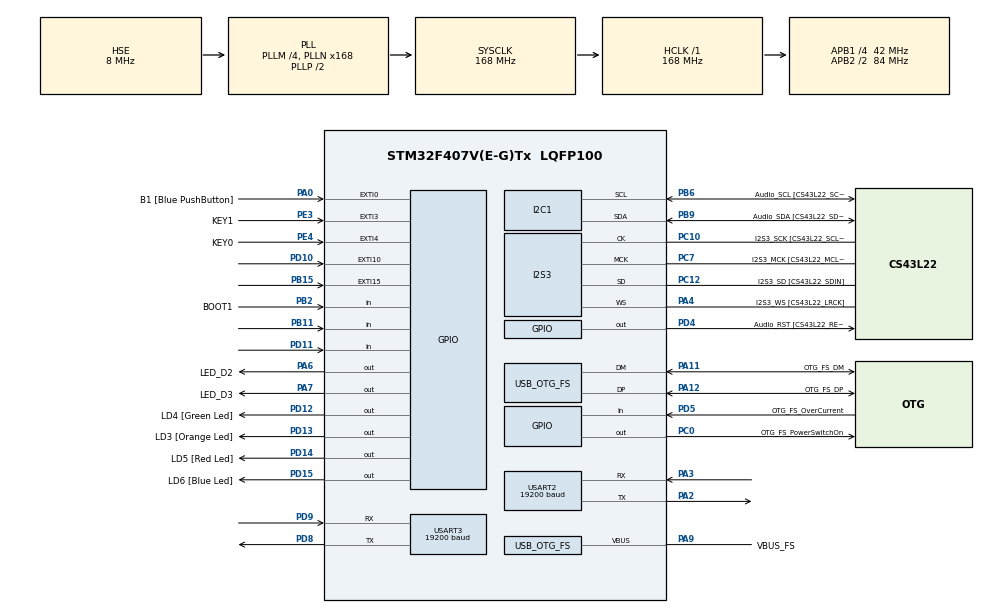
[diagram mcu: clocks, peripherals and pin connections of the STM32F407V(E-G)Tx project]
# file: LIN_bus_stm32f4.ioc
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I2S3.AudioFreq-Half_Duplex_Master=I2S_AUDIOFREQ_96K
I2S3.ErrorAudioFreq=-2.34 %
I2S3.ErrorAudioFreq-Half_Duplex_Master=0.8 %
I2S3.FullDuplexMode=I2S_FULLDUPLEXMODE_DISABLE
I2S3.Instance=SPI$Index
I2S3.RealAudioFreq=93.75 KHz
I2S3.RealAudioFreq-Half_Duplex_Master=96.774 KHz
I2S3.VirtualMode=I2S_MODE_MASTER
Mcu.Family=STM32F4
Mcu.Name=STM32F407V(E-G)Tx
Mcu.Package=LQFP100
NVIC.EXTI15_10_IRQn=true\:0\:0\:false\:false\:true\:true\:true\:true
NVIC.EXTI3_IRQn=true\:0\:0\:false\:false\:true\:true\:true\:true
NVIC.EXTI4_IRQn=true\:0\:0\:true\:false\:true\:true\:true\:true
NVIC.OTG_FS_IRQn=true\:0\:0\:false\:false\:true\:true\:true\:true
NVIC.PriorityGroup=NVIC_PRIORITYGROUP_0
NVIC.TIM8_TRG_COM_TIM14_IRQn=true\:0\:0\:false\:false\:true\:true\:true\:true
NVIC.USART2_IRQn=true\:0\:0\:false\:false\:true\:true\:true\:true
NVIC.USART3_IRQn=true\:0\:0\:false\:false\:true\:true\:true\:true
PA0-WKUP.GPIO_Label=B1 [Blue PushButton]
PA0-WKUP.GPIO_ModeDefaultEXTI=GPIO_MODE_EVT_RISING
PA0-WKUP.GPIO_PuPd=GPIO_NOPULL
PA0-WKUP.Signal=GPXTI0
PA10.GPIO_Label=OTG_FS_ID
PA10.GPIO_Mode=GPIO_MODE_AF_PP
PA10.GPIO_PuPd=GPIO_NOPULL
PA10.GPIO_Speed=GPIO_SPEED_FREQ_LOW
PA10.Signal=USB_OTG_FS_ID
PA11.GPIO_Label=OTG_FS_DM
PA11.GPIO_Mode=GPIO_MODE_AF_PP
PA11.GPIO_PuPd=GPIO_NOPULL
PA11.GPIO_Speed=GPIO_SPEED_FREQ_LOW
PA11.Mode=Host_Only
PA11.Signal=USB_OTG_FS_DM
PA12.GPIO_Label=OTG_FS_DP
PA12.GPIO_Mode=GPIO_MODE_AF_PP
PA12.GPIO_PuPd=GPIO_NOPULL
PA12.GPIO_Speed=GPIO_SPEED_FREQ_LOW
PA12.Mode=Host_Only
PA12.Signal=USB_OTG_FS_DP
PA13.GPIO_Label=SWDIO
PA13.Mode=Serial_Wire
PA13.Signal=SYS_JTMS-SWDIO
PA14.GPIO_Label=SWCLK
PA14.Mode=Serial_Wire
PA14.Signal=SYS_JTCK-SWCLK
PA2.GPIO_PuPd=GPIO_PULLUP
PA2.Mode=LIN
PA2.Signal=USART2_TX
PA3.GPIO_PuPd=GPIO_NOPULL
PA3.Mode=LIN
PA3.Signal=USART2_RX
PA4.GPIO_Label=I2S3_WS [CS43L22_LRCK]
PA4.GPIO_Mode=GPIO_MODE_AF_PP
PA4.GPIO_PuPd=GPIO_NOPULL
PA4.GPIO_Speed=GPIO_SPEED_FREQ_LOW
PA4.Mode=Half_Duplex_Master
PA4.Signal=I2S3_WS
PA5.GPIO_Label=SPI1_SCK [LIS302DL_SCL/SPC]
PA5.GPIO_Mode=GPIO_MODE_AF_PP
PA5.GPIO_PuPd=GPIO_NOPULL
PA5.GPIO_Speed=GPIO_SPEED_FREQ_LOW
PA5.Signal=SPI1_SCK
PA6.GPIO_Label=LED_D2
PA6.GPIO_ModeDefaultOutputPP=GPIO_MODE_OUTPUT_PP
PA6.GPIO_PuPd=GPIO_PULLDOWN
PA6.PinState=GPIO_PIN_SET
PA6.Signal=GPIO_Output
PA7.GPIO_Label=LED_D3
PA7.GPIO_ModeDefaultOutputPP=GPIO_MODE_OUTPUT_PP
PA7.GPIO_PuPd=GPIO_PULLDOWN
PA7.PinState=GPIO_PIN_SET
PA7.Signal=GPIO_Output
PA9.GPIO_Label=VBUS_FS
PA9.GPIO_Mode=GPIO_MODE_INPUT
PA9.GPIO_PuPd=GPIO_NOPULL
PA9.Mode=Activate_VBUS
PA9.Signal=USB_OTG_FS_VBUS
PB10.GPIO_Label=CLK_IN [MP45DT02_CLK]
PB10.GPIO_Mode=GPIO_MODE_AF_PP
PB10.GPIO_PuPd=GPIO_NOPULL
PB10.GPIO_Speed=GPIO_SPEED_FREQ_LOW
PB10.Signal=I2S2_CK
PB11.GPIO_PuPd=GPIO_PULLUP
PB11.Signal=GPIO_Input
PB15.GPIO_ModeDefaultEXTI=GPIO_MODE_IT_RISING_FALLING
PB15.GPIO_PuPd=GPIO_PULLUP
PB15.Signal=GPXTI15
PB2.GPIO_Label=BOOT1
PB2.GPIO_Mode=GPIO_MODE_INPUT
PB2.GPIO_PuPd=GPIO_NOPULL
PB2.Signal=GPIO_Input
PB3.GPIO_Label=SWO
PB3.Signal=SYS_JTDO-SWO
PB6.GPIO_Label=Audio_SCL [CS43L22_SCL]
PB6.GPIO_Mode=GPIO_MODE_AF_OD
PB6.GPIO_Pu=GPIO_PULLUP
PB6.GPIO_PuPd=GPIO_NOPULL
PB6.GPIO_Speed=GPIO_SPEED_FREQ_LOW
PB6.Mode=I2C
PB6.Signal=I2C1_SCL
PB9.GPIO_Label=Audio_SDA [CS43L22_SDA]
PB9.GPIO_Mode=GPIO_MODE_AF_OD
PB9.GPIO_Pu=GPIO_PULLUP
PB9.GPIO_PuPd=GPIO_NOPULL
PB9.GPIO_Speed=GPIO_SPEED_FREQ_LOW
PB9.Mode=I2C
PB9.Signal=I2C1_SDA
PC0.GPIO_Label=OTG_FS_PowerSwitchOn
PC0.GPIO_PuPd=GPIO_NOPULL
PC0.GPIO_Speed=GPIO_SPEED_FREQ_LOW
PC0.PinState=GPIO_PIN_SET
PC0.Signal=GPIO_Output
PC10.GPIO_Label=I2S3_SCK [CS43L22_SCLK]
PC10.GPIO_Mode=GPIO_MODE_AF_PP
PC10.GPIO_PuPd=GPIO_NOPULL
PC10.GPIO_Speed=GPIO_SPEED_FREQ_LOW
PC10.Mode=Half_Duplex_Master
PC10.Signal=I2S3_CK
PC12.GPIO_Label=I2S3_SD [CS43L22_SDIN]
PC12.GPIO_Mode=GPIO_MODE_AF_PP
PC12.GPIO_PuPd=GPIO_NOPULL
PC12.GPIO_Speed=GPIO_SPEED_FREQ_LOW
PC12.Mode=Half_Duplex_Master
PC12.Signal=I2S3_SD
PC14-OSC32_IN.GPIO_Label=PC14-OSC32_IN
PC14-OSC32_IN.Mode=LSE-External-Oscillator
PC14-OSC32_IN.Signal=RCC_OSC32_IN
PC15-OSC32_OUT.GPIO_Label=PC15-OSC32_OUT
PC15-OSC32_OUT.Mode=LSE-External-Oscillator
PC15-OSC32_OUT.Signal=RCC_OSC32_OUT
PC3.GPIO_Label=PDM_OUT [MP45DT02_DOUT]
PC3.GPIO_Mode=GPIO_MODE_AF_PP
PC3.GPIO_PuPd=GPIO_NOPULL
PC3.GPIO_Speed=GPIO_SPEED_FREQ_LOW
PC3.Signal=I2S2_SD
PC7.GPIO_Label=I2S3_MCK [CS43L22_MCLK]
PC7.GPIO_Mode=GPIO_MODE_AF_PP
PC7.GPIO_PuPd=GPIO_NOPULL
PC7.GPIO_Speed=GPIO_SPEED_FREQ_LOW
PC7.Mode=Master_Clock_Activated
PC7.Signal=I2S3_MCK
PD10.GPIO_ModeDefaultEXTI=GPIO_MODE_IT_RISING_FALLING
PD10.Signal=GPXTI10
PD11.GPIO_PuPd=GPIO_NOPULL
PD11.Signal=GPIO_Input
PD12.GPIO_Label=LD4 [Green Led]
PD12.GPIO_PuPd=GPIO_NOPULL
PD12.GPIO_Speed=GPIO_SPEED_FREQ_LOW
PD12.Signal=GPIO_Output
PD13.GPIO_Label=LD3 [Orange Led]
PD13.GPIO_PuPd=GPIO_NOPULL
PD13.GPIO_Speed=GPIO_SPEED_FREQ_LOW
PD13.Signal=GPIO_Output
PD14.GPIO_Label=LD5 [Red Led]
PD14.GPIO_PuPd=GPIO_NOPULL
PD14.GPIO_Speed=GPIO_SPEED_FREQ_LOW
PD14.Signal=GPIO_Output
PD15.GPIO_Label=LD6 [Blue Led]
PD15.GPIO_PuPd=GPIO_NOPULL
PD15.GPIO_Speed=GPIO_SPEED_FREQ_LOW
PD15.Signal=GPIO_Output
PD4.GPIO_Label=Audio_RST [CS43L22_RESET]
PD4.GPIO_PuPd=GPIO_NOPULL
PD4.GPIO_Speed=GPIO_SPEED_FREQ_LOW
PD4.Signal=GPIO_Output
PD5.GPIO_Label=OTG_FS_OverCurrent
PD5.GPIO_Mode=GPIO_MODE_INPUT
PD5.GPIO_PuPd=GPIO_NOPULL
PD5.Signal=GPIO_Input
PD8.GPIO_PuPd=GPIO_PULLUP
PD8.Mode=LIN
PD8.Signal=USART3_TX
PD9.Mode=LIN
PD9.Signal=USART3_RX
PE3.GPIO_Label=KEY1
PE3.GPIO_PuPd=GPIO_PULLUP
PE3.Signal=GPXTI3
PE4.GPIO_Label=KEY0
PE4.GPIO_PuPd=GPIO_PULLUP
PE4.Signal=GPXTI4
PH0-OSC_IN.GPIO_Label=PH0-OSC_IN
PH0-OSC_IN.Mode=HSE-External-Oscillator
PH0-OSC_IN.Signal=RCC_OSC_IN
PH1-OSC_OUT.GPIO_Label=PH1-OSC_OUT
PH1-OSC_OUT.Mode=HSE-External-Oscillator
PH1-OSC_OUT.Signal=RCC_OSC_OUT
ProjectManager.HeapSize=0x200
ProjectManager.StackSize=0x400
ProjectManager.TargetToolchain=STM32CubeIDE
RCC.48MHZClocksFreq_Value=48000000
RCC.AHBFreq_Value=168000000
RCC.APB1CLKDivider=RCC_HCLK_DIV4
RCC.APB1Freq_Value=42000000
RCC.APB1TimFreq_Value=84000000
RCC.APB2CLKDivider=RCC_HCLK_DIV2
RCC.APB2Freq_Value=84000000
RCC.APB2TimFreq_Value=168000000
RCC.CortexFreq_Value=168000000
RCC.HCLKFreq_Value=168000000
RCC.HSE_VALUE=8000000
RCC.HSI_VALUE=16000000
RCC.PLLM=4
RCC.PLLN=168
RCC.PLLQ=7
RCC.SYSCLKFreq_VALUE=168000000
RCC.SYSCLKSource=RCC_SYSCLKSOURCE_PLLCLK
RCC.VCOOutputFreq_Value=336000000
TIM14.Period=84-1
TIM14.Prescaler=1-1
USART2.BaudRate=19200
USART2.BreakDetectLength=UART_LINBREAKDETECTLENGTH_11B
USART2.VirtualMode=VM_ASYNC
USART3.BaudRate=19200
USART3.BreakDetectLength=UART_LINBREAKDETECTLENGTH_11B
USART3.VirtualMode=VM_ASYNC
USB_HOST.BSP.number=1
USB_HOST.USBH_HandleTypeDef-CDC_FS=hUsbHostFS
USB_HOST.VirtualModeFS=Cdc
USB_HOST0.BSP.STBoard=false
USB_HOST0.BSP.api=Unknown
USB_HOST0.BSP.instance=PC0
USB_HOST0.BSP.ip=GPIO
USB_HOST0.BSP.mode=Output
USB_HOST0.BSP.name=Drive_VBUS_FS
USB_HOST0.BSP.solution=PC0
USB_OTG_FS.VirtualMode=Host_Only
USB_OTG_FS.phy_itface=HCD_PHY_EMBEDDED
VP_TIM14_VS_ClockSourceINT.Mode=Enable_Timer
VP_USB_HOST_VS_USB_HOST_CDC_FS.Mode=CDC_FS
board=STM32F407G-DISC1

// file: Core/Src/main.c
/* USER CODE BEGIN Header */
/**
  ******************************************************************************
  * @file           : main.c
  * @brief          : Main program body
  ******************************************************************************
  * @attention
  *
  * Copyright (c) 2023 STMicroelectronics.
  * All rights reserved.
  *
  * This software is licensed under terms that can be found in the LICENSE file
  * in the root directory of this software component.
  * If no LICENSE file comes with this software, it is provided AS-IS.
  *
  ******************************************************************************
  */
/* USER CODE END Header */
#include "main.h"
#include "usb_host.h"

/* USER CODE BEGIN Includes */
#include "lin_protocol.h"

/* USER CODE END Includes */

/* USER CODE BEGIN PD */
#define LOGIC_CONFIRMED 8 // 8/13
#define SAMPLE_TIME 	4 // each 4 time counter
#define MAX_SAMPLE 		13 // each 4 time counter
#define MAX_COUNTER 	52 // each 4 time counter

/* USER CODE END PD */

I2C_HandleTypeDef hi2c1;

I2S_HandleTypeDef hi2s3;

TIM_HandleTypeDef htim14;

UART_HandleTypeDef huart2;
UART_HandleTypeDef huart3;

void SystemClock_Config(void);
static void MX_GPIO_Init(void);
static void MX_I2C1_Init(void);
static void MX_I2S3_Init(void);
static void MX_TIM14_Init(void);
static void MX_USART2_UART_Init(void);
static void MX_USART3_UART_Init(void);
void MX_USB_HOST_Process(void);

/* USER CODE BEGIN 0 */

uint32_t counter = 1;
uint32_t counter_2 = 1;
uint8_t array[100] = {0};
uint32_t alive_sw = 1;

uint64_t counter_timer = 0;
uint32_t read_pin_counter = 0;

const uint8_t rx_size = 20;
uint8_t rx_buff[20] = {0};
uint8_t tx_buff[4] = {0, 1, 2, 3};

uint8_t raw_data[40] = {};
uint8_t raw_index = 0;
//extern uint8_t flag_read_pin;
uint8_t flag_read_pin = 0;

LIN_ERR_t check;

//for dertermine LOGIC level
uint8_t logic_counter = 0;
uint8_t sample_counter = 0; //max = 13
uint8_t dertimine_logic = 0; //max = 13

uint8_t bit_index = 0; //max = 20
uint8_t bit_array[20] = {0};

uint8_t tx_data = 0;
uint8_t rx_data = 0;

LIN_FRAME_t myFrame;
uint8_t uart2_rx_data = 0;

/* USER CODE END 0 */

int main(void)
{

  /* MCU Configuration--------------------------------------------------------*/

  /* Reset of all peripherals, Initializes the Flash interface and the Systick. */
  HAL_Init();

  /* Configure the system clock */
  SystemClock_Config();

  /* Initialize all configured peripherals */
  MX_GPIO_Init();
  MX_I2C1_Init();
  MX_I2S3_Init();
  MX_USB_HOST_Init();
  MX_TIM14_Init();
  MX_USART2_UART_Init();
  MX_USART3_UART_Init();
  /* USER CODE BEGIN 2 */
  /*start timer*/
  HAL_TIM_Base_Start_IT(&htim14);
  HAL_UART_Receive_IT (&huart3, rx_buff, 20);
  HAL_UART_Receive_IT (&huart2, &uart2_rx_data, 1);
  /*start uart iterrrupt*/
//  HAL_UART_Receive_IT(&huart3, rx_buff, 10);

//  LIN_FRAME_t myFrame;
//  for (int i = 0; i<40; i++) {
//	  raw_data[i] = 3;
//  }

  /* USER CODE END 2 */

  /* Infinite loop */
  while (1)
  {
    MX_USB_HOST_Process();

    /* USER CODE BEGIN 3 */

    if (tx_data == 10) {
    	UB_LIN_SendData(&myFrame, &huart2);
    	HAL_Delay(100);
    	tx_data = 20;
    } else if ( tx_data == 20) {
//    	UB_LIN_SendData(&myFrame, &huart2);
//    	HAL_Delay(100);
    } else {
    	//do nothing
    }

//    if(HAL_GPIO_ReadPin (GPIOA, GPIO_PIN_0)) //button down
//	{
//		HAL_Delay(500);
//		btn = -btn;
////		HAL_UART_Transmit(&huart2, tx_buff, sizeof(tx_buff), HAL_MAX_DELAY);
//		//reset timer for read pin
//		flag_read_pin = 0;
//		raw_index = 0;
//		for (int i = 0; i<40; i++) {
//			raw_data[i] = 3;
//		}
//		//sending via LIN bus
//		check = UB_LIN_SendData(&myFrame, &huart2);
//
//	}
//	if(btn == 1)
//	{
//	//        HAL_Delay(200);
//	 // Set The LED ON!
//		HAL_GPIO_WritePin(GPIOA, GPIO_PIN_2, GPIO_PIN_SET);
//		HAL_GPIO_WritePin(GPIOD, GPIO_PIN_15, GPIO_PIN_SET);
//	}
//	else
//	{
//	//        HAL_Delay(200);
//	 // Else .. Turn LED OFF!
//		HAL_GPIO_WritePin(GPIOA, GPIO_PIN_2, GPIO_PIN_RESET);
//		HAL_GPIO_WritePin(GPIOD, GPIO_PIN_15, GPIO_PIN_RESET);
//	}
//
//    led_testing();
	alive_sw++;
//	if(HAL_GPIO_ReadPin (GPIOA, GPIO_PIN_3)) {
//	  HAL_GPIO_WritePin(GPIOD, GPIO_PIN_15, GPIO_PIN_SET);
//	  counter++;
//	  if(counter == 1000) counter = 1;
//	} else {
//	  HAL_GPIO_WritePin(GPIOD, GPIO_PIN_15, GPIO_PIN_RESET);
//	  counter_2++;
//	  if(counter_2 == 1000) counter_2 = 1;
//	}
	if(alive_sw == 1000) alive_sw = 0;

	  if (rx_data == 10) {
		  HAL_GPIO_WritePin(GPIOA, GPIO_PIN_6, 1);
		  HAL_GPIO_WritePin(GPIOA, GPIO_PIN_7, 1);
	  } else {
		  HAL_GPIO_WritePin(GPIOA, GPIO_PIN_6, 0);
		  HAL_GPIO_WritePin(GPIOA, GPIO_PIN_7, 0);
	  }
  }
  /* USER CODE END 3 */
}

void SystemClock_Config(void)
{
  RCC_OscInitTypeDef RCC_OscInitStruct = {0};
  RCC_ClkInitTypeDef RCC_ClkInitStruct = {0};

  /** Configure the main internal regulator output voltage
  */
  __HAL_RCC_PWR_CLK_ENABLE();
  __HAL_PWR_VOLTAGESCALING_CONFIG(PWR_REGULATOR_VOLTAGE_SCALE1);

  /** Initializes the RCC Oscillators according to the specified parameters
  * in the RCC_OscInitTypeDef structure.
  */
  RCC_OscInitStruct.OscillatorType = RCC_OSCILLATORTYPE_HSE;
  RCC_OscInitStruct.HSEState = RCC_HSE_ON;
  RCC_OscInitStruct.PLL.PLLState = RCC_PLL_ON;
  RCC_OscInitStruct.PLL.PLLSource = RCC_PLLSOURCE_HSE;
  RCC_OscInitStruct.PLL.PLLM = 4;
  RCC_OscInitStruct.PLL.PLLN = 168;
  RCC_OscInitStruct.PLL.PLLP = RCC_PLLP_DIV2;
  RCC_OscInitStruct.PLL.PLLQ = 7;
  if (HAL_RCC_OscConfig(&RCC_OscInitStruct) != HAL_OK)
  {
    Error_Handler();
  }

  /** Initializes the CPU, AHB and APB buses clocks
  */
  RCC_ClkInitStruct.ClockType = RCC_CLOCKTYPE_HCLK|RCC_CLOCKTYPE_SYSCLK
                              |RCC_CLOCKTYPE_PCLK1|RCC_CLOCKTYPE_PCLK2;
  RCC_ClkInitStruct.SYSCLKSource = RCC_SYSCLKSOURCE_PLLCLK;
  RCC_ClkInitStruct.AHBCLKDivider = RCC_SYSCLK_DIV1;
  RCC_ClkInitStruct.APB1CLKDivider = RCC_HCLK_DIV4;
  RCC_ClkInitStruct.APB2CLKDivider = RCC_HCLK_DIV2;

  if (HAL_RCC_ClockConfig(&RCC_ClkInitStruct, FLASH_LATENCY_5) != HAL_OK)
  {
    Error_Handler();
  }
}

static void MX_I2C1_Init(void)
{

  hi2c1.Instance = I2C1;
  hi2c1.Init.ClockSpeed = 100000;
  hi2c1.Init.DutyCycle = I2C_DUTYCYCLE_2;
  hi2c1.Init.OwnAddress1 = 0;
  hi2c1.Init.AddressingMode = I2C_ADDRESSINGMODE_7BIT;
  hi2c1.Init.DualAddressMode = I2C_DUALADDRESS_DISABLE;
  hi2c1.Init.OwnAddress2 = 0;
  hi2c1.Init.GeneralCallMode = I2C_GENERALCALL_DISABLE;
  hi2c1.Init.NoStretchMode = I2C_NOSTRETCH_DISABLE;
  if (HAL_I2C_Init(&hi2c1) != HAL_OK)
  {
    Error_Handler();
  }

}

static void MX_I2S3_Init(void)
{

  hi2s3.Instance = SPI3;
  hi2s3.Init.Mode = I2S_MODE_MASTER_TX;
  hi2s3.Init.Standard = I2S_STANDARD_PHILIPS;
  hi2s3.Init.DataFormat = I2S_DATAFORMAT_16B;
  hi2s3.Init.MCLKOutput = I2S_MCLKOUTPUT_ENABLE;
  hi2s3.Init.AudioFreq = I2S_AUDIOFREQ_96K;
  hi2s3.Init.CPOL = I2S_CPOL_LOW;
  hi2s3.Init.ClockSource = I2S_CLOCK_PLL;
  hi2s3.Init.FullDuplexMode = I2S_FULLDUPLEXMODE_DISABLE;
  if (HAL_I2S_Init(&hi2s3) != HAL_OK)
  {
    Error_Handler();
  }

}

static void MX_TIM14_Init(void)
{

  htim14.Instance = TIM14;
  htim14.Init.Prescaler = 1-1;
  htim14.Init.CounterMode = TIM_COUNTERMODE_UP;
  htim14.Init.Period = 84-1;
  htim14.Init.ClockDivision = TIM_CLOCKDIVISION_DIV1;
  htim14.Init.AutoReloadPreload = TIM_AUTORELOAD_PRELOAD_DISABLE;
  if (HAL_TIM_Base_Init(&htim14) != HAL_OK)
  {
    Error_Handler();
  }

}

static void MX_USART2_UART_Init(void)
{

  huart2.Instance = USART2;
  huart2.Init.BaudRate = 19200;
  huart2.Init.WordLength = UART_WORDLENGTH_8B;
  huart2.Init.StopBits = UART_STOPBITS_1;
  huart2.Init.Parity = UART_PARITY_NONE;
  huart2.Init.Mode = UART_MODE_TX_RX;
  huart2.Init.HwFlowCtl = UART_HWCONTROL_NONE;
  huart2.Init.OverSampling = UART_OVERSAMPLING_16;
  if (HAL_LIN_Init(&huart2, UART_LINBREAKDETECTLENGTH_11B) != HAL_OK)
  {
    Error_Handler();
  }

}

static void MX_USART3_UART_Init(void)
{

  huart3.Instance = USART3;
  huart3.Init.BaudRate = 19200;
  huart3.Init.WordLength = UART_WORDLENGTH_8B;
  huart3.Init.StopBits = UART_STOPBITS_1;
  huart3.Init.Parity = UART_PARITY_NONE;
  huart3.Init.Mode = UART_MODE_TX_RX;
  huart3.Init.HwFlowCtl = UART_HWCONTROL_NONE;
  huart3.Init.OverSampling = UART_OVERSAMPLING_16;
  if (HAL_LIN_Init(&huart3, UART_LINBREAKDETECTLENGTH_11B) != HAL_OK)
  {
    Error_Handler();
  }

}

static void MX_GPIO_Init(void)
{
  GPIO_InitTypeDef GPIO_InitStruct = {0};

  /* GPIO Ports Clock Enable */
  __HAL_RCC_GPIOE_CLK_ENABLE();
  __HAL_RCC_GPIOC_CLK_ENABLE();
  __HAL_RCC_GPIOH_CLK_ENABLE();
  __HAL_RCC_GPIOA_CLK_ENABLE();
  __HAL_RCC_GPIOB_CLK_ENABLE();
  __HAL_RCC_GPIOD_CLK_ENABLE();

  /*Configure GPIO pin Output Level */
  HAL_GPIO_WritePin(OTG_FS_PowerSwitchOn_GPIO_Port, OTG_FS_PowerSwitchOn_Pin, GPIO_PIN_SET);

  /*Configure GPIO pin Output Level */
  HAL_GPIO_WritePin(GPIOA, LED_D2_Pin|LED_D3_Pin, GPIO_PIN_SET);

  /*Configure GPIO pin Output Level */
  HAL_GPIO_WritePin(GPIOD, LD4_Pin|LD3_Pin|LD5_Pin|LD6_Pin
                          |Audio_RST_Pin, GPIO_PIN_RESET);

  /*Configure GPIO pins : KEY1_Pin KEY0_Pin */
  GPIO_InitStruct.Pin = KEY1_Pin|KEY0_Pin;
  GPIO_InitStruct.Mode = GPIO_MODE_IT_RISING;
  GPIO_InitStruct.Pull = GPIO_PULLUP;
  HAL_GPIO_Init(GPIOE, &GPIO_InitStruct);

  /*Configure GPIO pin : OTG_FS_PowerSwitchOn_Pin */
  GPIO_InitStruct.Pin = OTG_FS_PowerSwitchOn_Pin;
  GPIO_InitStruct.Mode = GPIO_MODE_OUTPUT_PP;
  GPIO_InitStruct.Pull = GPIO_NOPULL;
  GPIO_InitStruct.Speed = GPIO_SPEED_FREQ_LOW;
  HAL_GPIO_Init(OTG_FS_PowerSwitchOn_GPIO_Port, &GPIO_InitStruct);

  /*Configure GPIO pin : PDM_OUT_Pin */
  GPIO_InitStruct.Pin = PDM_OUT_Pin;
  GPIO_InitStruct.Mode = GPIO_MODE_AF_PP;
  GPIO_InitStruct.Pull = GPIO_NOPULL;
  GPIO_InitStruct.Speed = GPIO_SPEED_FREQ_LOW;
  GPIO_InitStruct.Alternate = GPIO_AF5_SPI2;
  HAL_GPIO_Init(PDM_OUT_GPIO_Port, &GPIO_InitStruct);

  /*Configure GPIO pin : B1_Pin */
  GPIO_InitStruct.Pin = B1_Pin;
  GPIO_InitStruct.Mode = GPIO_MODE_EVT_RISING;
  GPIO_InitStruct.Pull = GPIO_NOPULL;
  HAL_GPIO_Init(B1_GPIO_Port, &GPIO_InitStruct);

  /*Configure GPIO pin : SPI1_SCK_Pin */
  GPIO_InitStruct.Pin = SPI1_SCK_Pin;
  GPIO_InitStruct.Mode = GPIO_MODE_AF_PP;
  GPIO_InitStruct.Pull = GPIO_NOPULL;
  GPIO_InitStruct.Speed = GPIO_SPEED_FREQ_LOW;
  GPIO_InitStruct.Alternate = GPIO_AF5_SPI1;
  HAL_GPIO_Init(SPI1_SCK_GPIO_Port, &GPIO_InitStruct);

  /*Configure GPIO pins : LED_D2_Pin LED_D3_Pin */
  GPIO_InitStruct.Pin = LED_D2_Pin|LED_D3_Pin;
  GPIO_InitStruct.Mode = GPIO_MODE_OUTPUT_PP;
  GPIO_InitStruct.Pull = GPIO_PULLDOWN;
  GPIO_InitStruct.Speed = GPIO_SPEED_FREQ_LOW;
  HAL_GPIO_Init(GPIOA, &GPIO_InitStruct);

  /*Configure GPIO pin : BOOT1_Pin */
  GPIO_InitStruct.Pin = BOOT1_Pin;
  GPIO_InitStruct.Mode = GPIO_MODE_INPUT;
  GPIO_InitStruct.Pull = GPIO_NOPULL;
  HAL_GPIO_Init(BOOT1_GPIO_Port, &GPIO_InitStruct);

  /*Configure GPIO pin : CLK_IN_Pin */
  GPIO_InitStruct.Pin = CLK_IN_Pin;
  GPIO_InitStruct.Mode = GPIO_MODE_AF_PP;
  GPIO_InitStruct.Pull = GPIO_NOPULL;
  GPIO_InitStruct.Speed = GPIO_SPEED_FREQ_LOW;
  GPIO_InitStruct.Alternate = GPIO_AF5_SPI2;
  HAL_GPIO_Init(CLK_IN_GPIO_Port, &GPIO_InitStruct);

  /*Configure GPIO pin : PB11 */
  GPIO_InitStruct.Pin = GPIO_PIN_11;
  GPIO_InitStruct.Mode = GPIO_MODE_INPUT;
  GPIO_InitStruct.Pull = GPIO_PULLUP;
  HAL_GPIO_Init(GPIOB, &GPIO_InitStruct);

  /*Configure GPIO pin : PB15 */
  GPIO_InitStruct.Pin = GPIO_PIN_15;
  GPIO_InitStruct.Mode = GPIO_MODE_IT_RISING_FALLING;
  GPIO_InitStruct.Pull = GPIO_PULLUP;
  HAL_GPIO_Init(GPIOB, &GPIO_InitStruct);

  /*Configure GPIO pin : PD10 */
  GPIO_InitStruct.Pin = GPIO_PIN_10;
  GPIO_InitStruct.Mode = GPIO_MODE_IT_RISING_FALLING;
  GPIO_InitStruct.Pull = GPIO_NOPULL;
  HAL_GPIO_Init(GPIOD, &GPIO_InitStruct);

  /*Configure GPIO pins : PD11 OTG_FS_OverCurrent_Pin */
  GPIO_InitStruct.Pin = GPIO_PIN_11|OTG_FS_OverCurrent_Pin;
  GPIO_InitStruct.Mode = GPIO_MODE_INPUT;
  GPIO_InitStruct.Pull = GPIO_NOPULL;
  HAL_GPIO_Init(GPIOD, &GPIO_InitStruct);

  /*Configure GPIO pins : LD4_Pin LD3_Pin LD5_Pin LD6_Pin
                           Audio_RST_Pin */
  GPIO_InitStruct.Pin = LD4_Pin|LD3_Pin|LD5_Pin|LD6_Pin
                          |Audio_RST_Pin;
  GPIO_InitStruct.Mode = GPIO_MODE_OUTPUT_PP;
  GPIO_InitStruct.Pull = GPIO_NOPULL;
  GPIO_InitStruct.Speed = GPIO_SPEED_FREQ_LOW;
  HAL_GPIO_Init(GPIOD, &GPIO_InitStruct);

  /* EXTI interrupt init*/
  HAL_NVIC_SetPriority(EXTI3_IRQn, 0, 0);
  HAL_NVIC_EnableIRQ(EXTI3_IRQn);

  HAL_NVIC_SetPriority(EXTI4_IRQn, 0, 0);
  HAL_NVIC_EnableIRQ(EXTI4_IRQn);

  HAL_NVIC_SetPriority(EXTI15_10_IRQn, 0, 0);
  HAL_NVIC_EnableIRQ(EXTI15_10_IRQn);

}

/* USER CODE BEGIN 4 */

// Callback: timer has rolled over
void HAL_TIM_PeriodElapsedCallback(TIM_HandleTypeDef *htim)
{
  // Check which version of the timer triggered this callback and toggle LED
//  if (htim == &htim14)
//  {
//	  if(counter_timer >= 100000) {
//		  HAL_GPIO_TogglePin(GPIOD, GPIO_PIN_13);
//		  counter_timer = 0;
//	  }
//	  else {
//		  counter_timer++;
//	  }
//
////	  if (flag_read_pin == 0) { //one time only
////		  if (HAL_GPIO_ReadPin (GPIOD, GPIO_PIN_11) == 0) {
////			  flag_read_pin = 1;
////		  }
////	  }
//
//	  if (flag_read_pin == 1) {
////		  if (raw_index < 38) {
////			  raw_data[raw_index] = HAL_GPIO_ReadPin (GPIOD, GPIO_PIN_11);
////			  raw_index ++;
////		  }
////		  read_pin_counter = 0;
//		  if (read_pin_counter >= 52) {
//			  if (raw_index < 38) {
//				  raw_data[raw_index] = HAL_GPIO_ReadPin (GPIOD, GPIO_PIN_11);
//				  raw_index ++;
//			  }
//			  read_pin_counter = 0;
//		  } else {
//			  read_pin_counter++;
//		  }
//
//
//		  if(HAL_GPIO_ReadPin (GPIOD, GPIO_PIN_11) == GPIO_PIN_RESET) { //start trigger dertermine LOGIC
//			  if (logic_counter == 4) {
//				  sample_counter++; //max = 13
//				  logic_counter = 0; //max = 4 ->reset
//				  // check logic
//				  if(HAL_GPIO_ReadPin (GPIOD, GPIO_PIN_11) == GPIO_PIN_RESET) {
//					  dertimine_logic++; //adding 1 each time sampling
//				  } else {
//					  //do nothing
//				  }
//				  if (dertimine_logic > LOGIC_CONFIRMED) {
//					  bit_array[bit_index] = 0;
//				  } else {
//					  bit_array[bit_index] = 1;
//				  }
//				  // end check logic
//			  }
//			  logic_counter++;
//		  } else {
//			  //do nothing
//		  }
//
//	  }
//  }
}

void delay_us (uint16_t us)
{
	__HAL_TIM_SET_COUNTER(&htim14, 0);  // set the counter value a 0
	while (__HAL_TIM_GET_COUNTER(&htim14) < us);  // wait for the counter to reach the us input in the parameter
}

void HAL_UART_RxCpltCallback(UART_HandleTypeDef *huart)
{
	counter_2++;
	if (counter_2 >= 1000) counter_2 = 0;
	if(huart->Instance == huart3.Instance) {
		HAL_UART_Receive_IT(&huart3, rx_buff, 10); //You need to toggle a breakpoint on this line!
		uint8_t feedback_data = 10;
		HAL_UART_Transmit(&huart3, &feedback_data, 1, 100);
	}
	if(huart->Instance == huart2.Instance) {
		HAL_UART_Receive_IT(&huart2, &uart2_rx_data, 1);
	}

}

void HAL_GPIO_EXTI_Callback(uint16_t GPIO_Pin)
{
 if (GPIO_Pin == GPIO_PIN_3) //key 1
 {
	 tx_data = 10;
//	 HAL_UART_Transmit(&huart2, &tx_data, 1, 100);
	 myFrame.frame_id=0x01;
	 myFrame.data_len=2;
	 myFrame.data[0]=0xA1;
	 myFrame.data[1]=0xB2;
//	 UB_LIN_SendData(&myFrame, &huart2);
//	 HAL_GPIO_WritePin(GPIOA, GPIO_PIN_6, 1);
//	 HAL_GPIO_WritePin(GPIOA, GPIO_PIN_7, 1);
 }
 else if (GPIO_Pin == GPIO_PIN_4) //key 0
 {
	 tx_data = 10;
	 myFrame.frame_id=0x05;
	 myFrame.data_len=2;
	 myFrame.data[0]=0x01;
	 myFrame.data[1]=0x02;
//	 UB_LIN_SendData(&myFrame, &huart2);
//	 HAL_UART_Transmit(&huart2, &tx_data, 1, 100);
//	 HAL_GPIO_WritePin(GPIOA, GPIO_PIN_6, 0);
//	 HAL_GPIO_WritePin(GPIOA, GPIO_PIN_7, 0);
 }
}

//uint8_t LIN_Transmit() {
//
//}
/* USER CODE END 4 */

void Error_Handler(void)
{
  __disable_irq();
  while (1)
  {
  }
}
